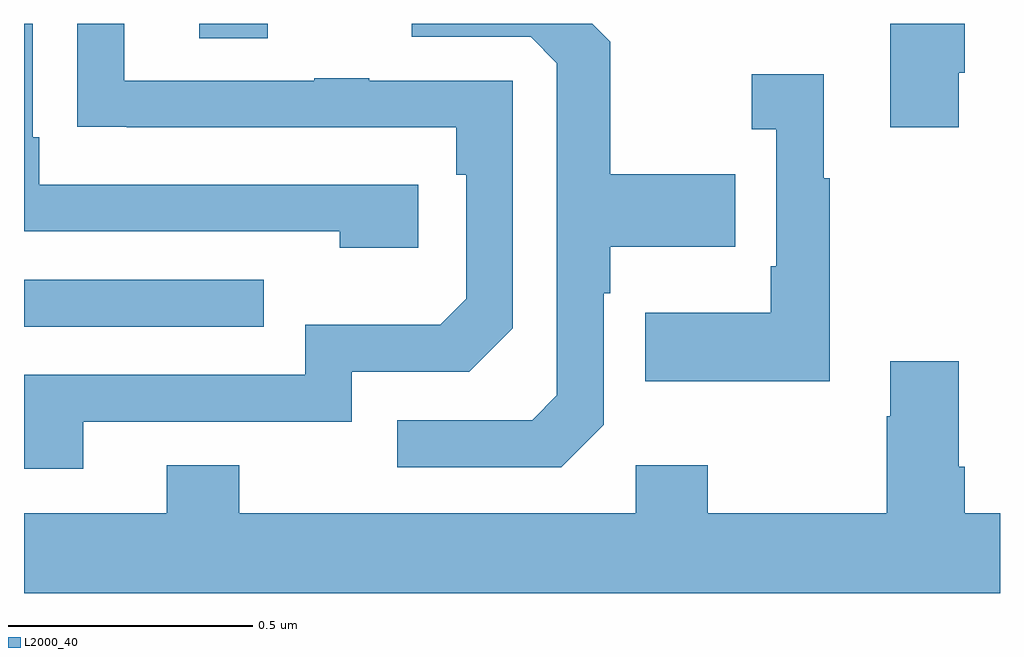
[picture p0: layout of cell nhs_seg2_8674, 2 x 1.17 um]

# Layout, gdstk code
import gdstk
lib = gdstk.Library(unit=1e-6, precision=1e-09)
def R(c, l, rs):  # rectangles x0, y0, x1, y1
    for r in rs: c.add(gdstk.rectangle(r[:2], r[2:], *l))
def P(c, l, *ps):  # polygons
    for p in ps: c.add(gdstk.Polygon(p, *l))
L2000_40 = (2000, 40)

nhs_seg2_8674 = lib.new_cell('nhs_seg2_8674')
R(nhs_seg2_8674, L2000_40, [(219,652.179,219.491,652.275), (219.359,652.77,219.499,652.8)])
P(nhs_seg2_8674, L2000_40, [(220.915,652.699),(220.928,652.699),(220.928,652.8),(220.775,652.8),(220.775,652.587),(220.915,652.587)],
  [(219.808,652.47),(219.031,652.47),(219.031,652.567),(219.018,652.567),(219.018,652.8),(219,652.8),(219,652.374),(219.647,652.374),(219.647,652.34),(219.808,652.34)],
  [(220.188,651.978),(220.188,652.247),(220.201,652.247),(220.201,652.343),(220.457,652.343),(220.457,652.491),(220.201,652.491),(220.201,652.763),(220.164,652.8),(219.795,652.8),(219.795,652.773),(220.038,652.773),(220.092,652.719),(220.092,652.038),(220.041,651.987),(219.765,651.987),(219.765,651.891),(220.101,651.891)],
  [(219.121,651.984),(219.672,651.984),(219.672,652.086),(219.912,652.086),(220.002,652.176),(220.002,652.683),(219.707,652.683),(219.707,652.688),(219.595,652.688),(219.595,652.683),(219.205,652.683),(219.205,652.8),(219.109,652.8),(219.109,652.588),(219.211,652.588),(219.211,652.587),(219.886,652.587),(219.886,652.49),(219.906,652.49),(219.906,652.236),(219.853,652.183),(219.576,652.183),(219.576,652.08),(219,652.08),(219,651.888),(219.121,651.888)],
  [(220.651,652.483),(220.639,652.483),(220.639,652.696),(220.491,652.696),(220.491,652.583),(220.542,652.583),(220.542,652.303),(220.53,652.303),(220.53,652.207),(220.273,652.207),(220.273,652.067),(220.651,652.067)],
  [(221,651.796),(220.928,651.796),(220.928,651.892),(220.915,651.892),(220.915,652.108),(220.775,652.108),(220.775,651.995),(220.768,651.995),(220.768,651.796),(220.401,651.796),(220.401,651.895),(220.254,651.895),(220.254,651.796),(219.441,651.796),(219.441,651.895),(219.293,651.895),(219.293,651.796),(219,651.796),(219,651.632),(221,651.632)])

lib.write_gds('nhs_seg2_8674.gds')
